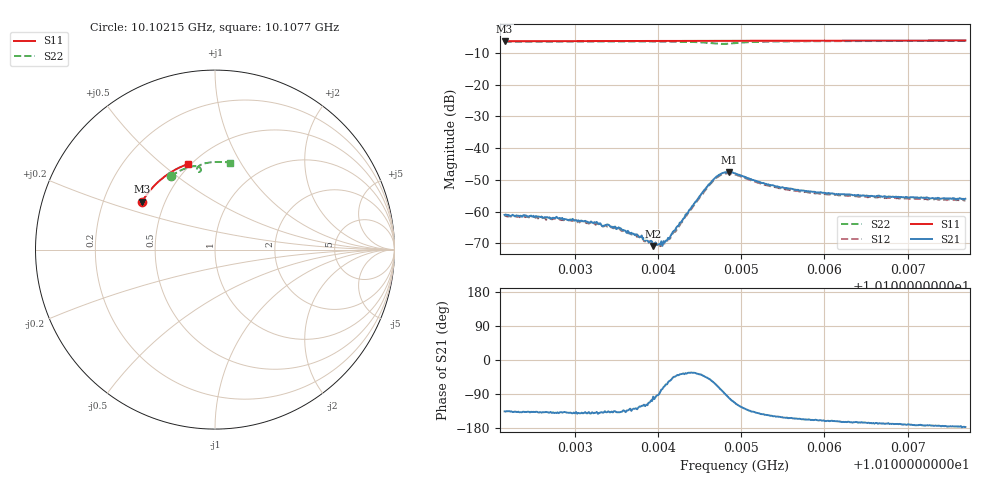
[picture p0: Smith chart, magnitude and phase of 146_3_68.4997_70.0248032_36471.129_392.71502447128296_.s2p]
#  HZ  S  RI  R  50.00
! Rohde & Schwarz Vector Network Analyzer
! Rohde-Schwarz,ZNB20-2Port,1311601062101988,3.16
! Created: UTC 3/20/2024, 4:55:05 PM
! freq[Hz]  re:S11  im:S11  re:S21  im:S21  re:S12  im:S12  re:S22  im:S22
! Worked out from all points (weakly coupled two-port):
!   401 points, 10.10215 GHz to 10.1077 GHz, reference 50 ohm
!   highest |S21| = -47.60 dB at 10.10485 GHz (marker M1); lowest = -70.9 dB at 10.10394 GHz (marker M2)
!   lowest |S11| = -6.3 dB at 10.10215 GHz (marker M3), VSWR 2.89, Z = 18.7 + j13 ohm
!   |S11| at or under -10 dB: nowhere
!   |S22| runs from -7.1 to -6.2 dB; largest |S21 - S12| = 0.00042
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1.0102152e10  -0.4061 0.2664  -0.000632 -0.00062  -0.000543 -0.000654  -0.2466 0.4098
1.010279e10  -0.3851 0.2992  -0.000589 -0.000525  -0.000508 -0.000533  -0.2106 0.4312
1.0103081e10  -0.3747 0.3134  -0.000541 -0.000469  -0.000493 -0.000504  -0.1934 0.4401
1.0103275e10  -0.3675 0.3228  -0.000511 -0.000405  -0.00046 -0.000437  -0.1815 0.4456
1.0103344e10  -0.3647 0.3261  -0.000446 -0.000397  -0.000389 -0.000432  -0.1771 0.4475
1.0103385e10  -0.3633 0.3281  -0.000462 -0.000419  -0.0004 -0.000415  -0.1745 0.4486
1.0103552e10  -0.3567 0.3358  -0.000393 -0.000367  -0.000356 -0.000357  -0.1637 0.4528
1.0103787e10  -0.3472 0.3464  -0.000214 -0.000333  -0.000196 -0.00033  -0.1479 0.4582
1.010394e10  -0.341 0.3533  -3.25e-05 -0.000284  -4.57e-05 -0.000287  -0.1369 0.4614
1.0103967e10  -0.3398 0.3545  -4.29e-05 -0.000318  -3.2e-05 -0.000324  -0.1349 0.4619
1.0104009e10  -0.338 0.3564  -3.33e-06 -0.000305  3.15e-05 -0.000302  -0.1318 0.4625
1.0104078e10  -0.335 0.3594  0.000118 -0.000302  0.000125 -0.000287  -0.1264 0.4637
1.0104134e10  -0.3325 0.3617  0.000211 -0.000306  0.00022 -0.00029  -0.122 0.4644
1.0104522e10  -0.3157 0.3781  0.00148 -0.0012  0.00152 -0.00102  -0.086 0.4585
1.010466e10  -0.3093 0.3835  0.00167 -0.00268  0.00183 -0.00243  -0.0783 0.4436
1.0104757e10  -0.3049 0.3873  0.000768 -0.00387  0.00106 -0.00366  -0.0851 0.4334
1.0104854e10  -0.3005 0.391  -0.000778 -0.0041  -0.000417 -0.00397  -0.0968 0.4354
1.0104924e10  -0.2976 0.3936  -0.00157 -0.00366  -0.0012 -0.00362  -0.101 0.4431
1.0105339e10  -0.2777 0.4092  -0.00218 -0.00144  -0.00196 -0.00158  -0.0769 0.4735
1.0105852e10  -0.252 0.427  -0.00191 -0.000768  -0.00176 -0.000904  -0.0395 0.4841
1.0106781e10  -0.2031 0.4548  -0.00168 -0.000333  -0.00156 -0.000481  0.0229 0.4889
1.0107695e10  -0.1522 0.476  -0.00159 -8.61e-05  -0.00148 -0.000226  0.0823 0.4849
